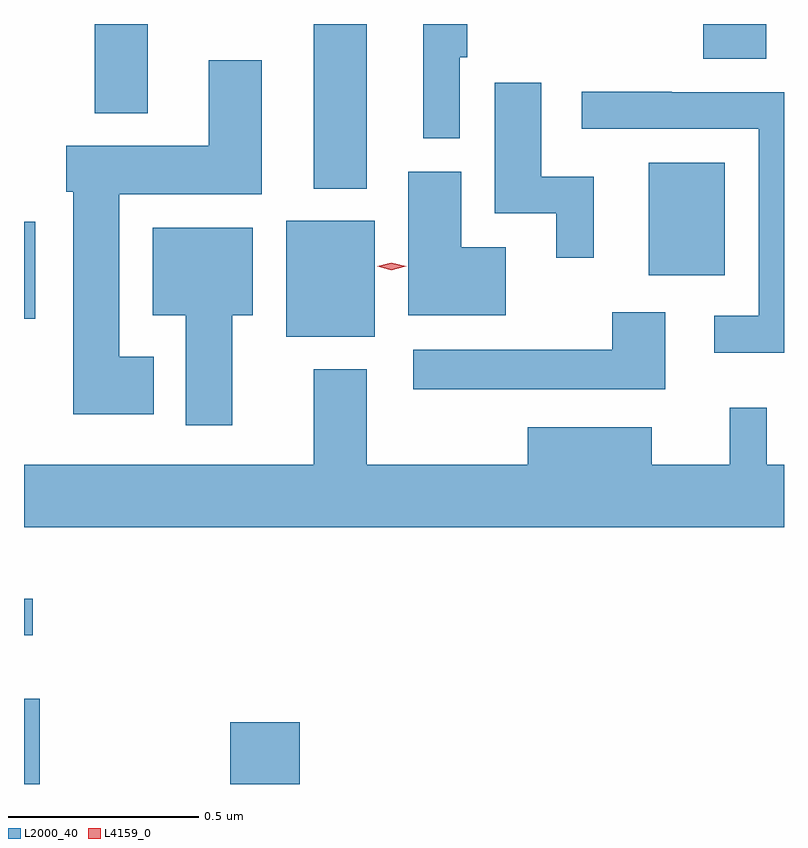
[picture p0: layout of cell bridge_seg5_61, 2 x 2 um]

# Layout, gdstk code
import gdstk
lib = gdstk.Library(unit=1e-6, precision=1e-09)
def R(c, l, rs):  # rectangles x0, y0, x1, y1
    for r in rs: c.add(gdstk.rectangle(r[:2], r[2:], *l))
def P(c, l, *ps):  # polygons
    for p in ps: c.add(gdstk.Polygon(p, *l))
L2000_40 = (2000, 40)
L4159_0 = (4159, 0)

bridge_seg5_61 = lib.new_cell('bridge_seg5_61')
R(bridge_seg5_61, L2000_40, [(705.359,837.436,705.401,837.661), (705.902,837.436,706.085,837.598), (705.359,837.828,705.382,837.924), (706.049,838.613,706.282,838.918), (705.359,838.661,705.388,838.915), (707.003,838.775,707.203,839.071), (706.121,839.003,706.261,839.436), (705.545,839.201,705.685,839.436), (707.147,839.345,707.312,839.436)])
P(bridge_seg5_61, L2000_40, [(706.506,839.348),(706.526,839.348),(706.526,839.436),(706.409,839.436),(706.409,839.136),(706.506,839.136)],
  [(705.7,838.561),(705.61,838.561),(705.61,838.988),(705.985,838.988),(705.985,839.341),(705.845,839.341),(705.845,839.116),(705.47,839.116),(705.47,838.995),(705.488,838.995),(705.488,838.409),(705.7,838.409)],
  [(706.858,839.034),(706.72,839.034),(706.72,839.281),(706.598,839.281),(706.598,838.938),(706.76,838.938),(706.76,838.821),(706.858,838.821)],
  [(707.359,839.256),(707.063,839.256),(707.063,839.258),(706.827,839.258),(706.827,839.16),(707.292,839.16),(707.292,838.668),(707.175,838.668),(707.175,838.571),(707.359,838.571)],
  [(706.627,838.849),(706.51,838.849),(706.51,839.047),(706.37,839.047),(706.37,838.67),(706.627,838.67)],
  [(705.907,838.67),(705.961,838.67),(705.961,838.9),(705.698,838.9),(705.698,838.67),(705.785,838.67),(705.785,838.38),(705.907,838.38)],
  [(707.047,838.678),(706.907,838.678),(706.907,838.579),(706.383,838.579),(706.383,838.475),(707.047,838.475)],
  [(707.359,838.276),(707.313,838.276),(707.313,838.426),(707.216,838.426),(707.216,838.276),(707.011,838.276),(707.011,838.375),(706.685,838.375),(706.685,838.276),(706.261,838.276),(706.261,838.528),(706.121,838.528),(706.121,838.276),(705.359,838.276),(705.359,838.112),(707.359,838.112)])
P(bridge_seg5_61, L4159_0, [(706.326,838.788),(706.288,838.798),(706.288,838.798),(706.288,838.798),(706.326,838.808),(706.365,838.798),(706.365,838.798),(706.365,838.798)])

lib.write_gds('bridge_seg5_61.gds')
